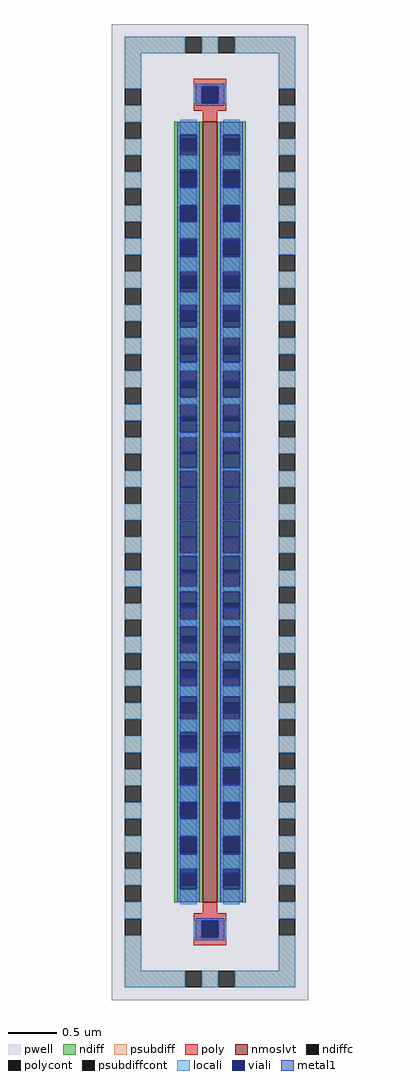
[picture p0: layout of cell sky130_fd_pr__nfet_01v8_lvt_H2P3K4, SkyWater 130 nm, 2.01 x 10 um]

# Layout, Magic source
magic
tech sky130A
magscale 1 2
<< pwell >>
rect -201 -1000 201 1000
<< nmoslvt >>
rect -15 -800 15 800
<< ndiff >>
rect -73 765 -15 800
rect -73 731 -61 765
rect -27 731 -15 765
rect -73 697 -15 731
rect -73 663 -61 697
rect -27 663 -15 697
rect -73 629 -15 663
rect -73 595 -61 629
rect -27 595 -15 629
rect -73 561 -15 595
rect -73 527 -61 561
rect -27 527 -15 561
rect -73 493 -15 527
rect -73 459 -61 493
rect -27 459 -15 493
rect -73 425 -15 459
rect -73 391 -61 425
rect -27 391 -15 425
rect -73 357 -15 391
rect -73 323 -61 357
rect -27 323 -15 357
rect -73 289 -15 323
rect -73 255 -61 289
rect -27 255 -15 289
rect -73 221 -15 255
rect -73 187 -61 221
rect -27 187 -15 221
rect -73 153 -15 187
rect -73 119 -61 153
rect -27 119 -15 153
rect -73 85 -15 119
rect -73 51 -61 85
rect -27 51 -15 85
rect -73 17 -15 51
rect -73 -17 -61 17
rect -27 -17 -15 17
rect -73 -51 -15 -17
rect -73 -85 -61 -51
rect -27 -85 -15 -51
rect -73 -119 -15 -85
rect -73 -153 -61 -119
rect -27 -153 -15 -119
rect -73 -187 -15 -153
rect -73 -221 -61 -187
rect -27 -221 -15 -187
rect -73 -255 -15 -221
rect -73 -289 -61 -255
rect -27 -289 -15 -255
rect -73 -323 -15 -289
rect -73 -357 -61 -323
rect -27 -357 -15 -323
rect -73 -391 -15 -357
rect -73 -425 -61 -391
rect -27 -425 -15 -391
rect -73 -459 -15 -425
rect -73 -493 -61 -459
rect -27 -493 -15 -459
rect -73 -527 -15 -493
rect -73 -561 -61 -527
rect -27 -561 -15 -527
rect -73 -595 -15 -561
rect -73 -629 -61 -595
rect -27 -629 -15 -595
rect -73 -663 -15 -629
rect -73 -697 -61 -663
rect -27 -697 -15 -663
rect -73 -731 -15 -697
rect -73 -765 -61 -731
rect -27 -765 -15 -731
rect -73 -800 -15 -765
rect 15 765 73 800
rect 15 731 27 765
rect 61 731 73 765
rect 15 697 73 731
rect 15 663 27 697
rect 61 663 73 697
rect 15 629 73 663
rect 15 595 27 629
rect 61 595 73 629
rect 15 561 73 595
rect 15 527 27 561
rect 61 527 73 561
rect 15 493 73 527
rect 15 459 27 493
rect 61 459 73 493
rect 15 425 73 459
rect 15 391 27 425
rect 61 391 73 425
rect 15 357 73 391
rect 15 323 27 357
rect 61 323 73 357
rect 15 289 73 323
rect 15 255 27 289
rect 61 255 73 289
rect 15 221 73 255
rect 15 187 27 221
rect 61 187 73 221
rect 15 153 73 187
rect 15 119 27 153
rect 61 119 73 153
rect 15 85 73 119
rect 15 51 27 85
rect 61 51 73 85
rect 15 17 73 51
rect 15 -17 27 17
rect 61 -17 73 17
rect 15 -51 73 -17
rect 15 -85 27 -51
rect 61 -85 73 -51
rect 15 -119 73 -85
rect 15 -153 27 -119
rect 61 -153 73 -119
rect 15 -187 73 -153
rect 15 -221 27 -187
rect 61 -221 73 -187
rect 15 -255 73 -221
rect 15 -289 27 -255
rect 61 -289 73 -255
rect 15 -323 73 -289
rect 15 -357 27 -323
rect 61 -357 73 -323
rect 15 -391 73 -357
rect 15 -425 27 -391
rect 61 -425 73 -391
rect 15 -459 73 -425
rect 15 -493 27 -459
rect 61 -493 73 -459
rect 15 -527 73 -493
rect 15 -561 27 -527
rect 61 -561 73 -527
rect 15 -595 73 -561
rect 15 -629 27 -595
rect 61 -629 73 -595
rect 15 -663 73 -629
rect 15 -697 27 -663
rect 61 -697 73 -663
rect 15 -731 73 -697
rect 15 -765 27 -731
rect 61 -765 73 -731
rect 15 -800 73 -765
<< ndiffc >>
rect -61 731 -27 765
rect -61 663 -27 697
rect -61 595 -27 629
rect -61 527 -27 561
rect -61 459 -27 493
rect -61 391 -27 425
rect -61 323 -27 357
rect -61 255 -27 289
rect -61 187 -27 221
rect -61 119 -27 153
rect -61 51 -27 85
rect -61 -17 -27 17
rect -61 -85 -27 -51
rect -61 -153 -27 -119
rect -61 -221 -27 -187
rect -61 -289 -27 -255
rect -61 -357 -27 -323
rect -61 -425 -27 -391
rect -61 -493 -27 -459
rect -61 -561 -27 -527
rect -61 -629 -27 -595
rect -61 -697 -27 -663
rect -61 -765 -27 -731
rect 27 731 61 765
rect 27 663 61 697
rect 27 595 61 629
rect 27 527 61 561
rect 27 459 61 493
rect 27 391 61 425
rect 27 323 61 357
rect 27 255 61 289
rect 27 187 61 221
rect 27 119 61 153
rect 27 51 61 85
rect 27 -17 61 17
rect 27 -85 61 -51
rect 27 -153 61 -119
rect 27 -221 61 -187
rect 27 -289 61 -255
rect 27 -357 61 -323
rect 27 -425 61 -391
rect 27 -493 61 -459
rect 27 -561 61 -527
rect 27 -629 61 -595
rect 27 -697 61 -663
rect 27 -765 61 -731
<< psubdiff >>
rect -175 940 -51 974
rect -17 940 17 974
rect 51 940 175 974
rect -175 867 -141 940
rect -175 799 -141 833
rect 141 867 175 940
rect -175 731 -141 765
rect -175 663 -141 697
rect -175 595 -141 629
rect -175 527 -141 561
rect -175 459 -141 493
rect -175 391 -141 425
rect -175 323 -141 357
rect -175 255 -141 289
rect -175 187 -141 221
rect -175 119 -141 153
rect -175 51 -141 85
rect -175 -17 -141 17
rect -175 -85 -141 -51
rect -175 -153 -141 -119
rect -175 -221 -141 -187
rect -175 -289 -141 -255
rect -175 -357 -141 -323
rect -175 -425 -141 -391
rect -175 -493 -141 -459
rect -175 -561 -141 -527
rect -175 -629 -141 -595
rect -175 -697 -141 -663
rect -175 -765 -141 -731
rect -175 -833 -141 -799
rect 141 799 175 833
rect 141 731 175 765
rect 141 663 175 697
rect 141 595 175 629
rect 141 527 175 561
rect 141 459 175 493
rect 141 391 175 425
rect 141 323 175 357
rect 141 255 175 289
rect 141 187 175 221
rect 141 119 175 153
rect 141 51 175 85
rect 141 -17 175 17
rect 141 -85 175 -51
rect 141 -153 175 -119
rect 141 -221 175 -187
rect 141 -289 175 -255
rect 141 -357 175 -323
rect 141 -425 175 -391
rect 141 -493 175 -459
rect 141 -561 175 -527
rect 141 -629 175 -595
rect 141 -697 175 -663
rect 141 -765 175 -731
rect -175 -940 -141 -867
rect 141 -833 175 -799
rect 141 -940 175 -867
rect -175 -974 -51 -940
rect -17 -974 17 -940
rect 51 -974 175 -940
<< psubdiffcont >>
rect -51 940 -17 974
rect 17 940 51 974
rect -175 833 -141 867
rect 141 833 175 867
rect -175 765 -141 799
rect -175 697 -141 731
rect -175 629 -141 663
rect -175 561 -141 595
rect -175 493 -141 527
rect -175 425 -141 459
rect -175 357 -141 391
rect -175 289 -141 323
rect -175 221 -141 255
rect -175 153 -141 187
rect -175 85 -141 119
rect -175 17 -141 51
rect -175 -51 -141 -17
rect -175 -119 -141 -85
rect -175 -187 -141 -153
rect -175 -255 -141 -221
rect -175 -323 -141 -289
rect -175 -391 -141 -357
rect -175 -459 -141 -425
rect -175 -527 -141 -493
rect -175 -595 -141 -561
rect -175 -663 -141 -629
rect -175 -731 -141 -697
rect -175 -799 -141 -765
rect 141 765 175 799
rect 141 697 175 731
rect 141 629 175 663
rect 141 561 175 595
rect 141 493 175 527
rect 141 425 175 459
rect 141 357 175 391
rect 141 289 175 323
rect 141 221 175 255
rect 141 153 175 187
rect 141 85 175 119
rect 141 17 175 51
rect 141 -51 175 -17
rect 141 -119 175 -85
rect 141 -187 175 -153
rect 141 -255 175 -221
rect 141 -323 175 -289
rect 141 -391 175 -357
rect 141 -459 175 -425
rect 141 -527 175 -493
rect 141 -595 175 -561
rect 141 -663 175 -629
rect 141 -731 175 -697
rect 141 -799 175 -765
rect -175 -867 -141 -833
rect 141 -867 175 -833
rect -51 -974 -17 -940
rect 17 -974 51 -940
<< poly >>
rect -33 872 33 888
rect -33 838 -17 872
rect 17 838 33 872
rect -33 822 33 838
rect -15 800 15 822
rect -15 -822 15 -800
rect -33 -838 33 -822
rect -33 -872 -17 -838
rect 17 -872 33 -838
rect -33 -888 33 -872
<< polycont >>
rect -17 838 17 872
rect -17 -872 17 -838
<< locali >>
rect -175 940 -51 974
rect -17 940 17 974
rect 51 940 175 974
rect -175 867 -141 940
rect -33 838 -17 872
rect 17 838 33 872
rect 141 867 175 940
rect -175 799 -141 833
rect -175 731 -141 765
rect -175 663 -141 697
rect -175 595 -141 629
rect -175 527 -141 561
rect -175 459 -141 493
rect -175 391 -141 425
rect -175 323 -141 357
rect -175 255 -141 289
rect -175 187 -141 221
rect -175 119 -141 153
rect -175 51 -141 85
rect -175 -17 -141 17
rect -175 -85 -141 -51
rect -175 -153 -141 -119
rect -175 -221 -141 -187
rect -175 -289 -141 -255
rect -175 -357 -141 -323
rect -175 -425 -141 -391
rect -175 -493 -141 -459
rect -175 -561 -141 -527
rect -175 -629 -141 -595
rect -175 -697 -141 -663
rect -175 -765 -141 -731
rect -175 -833 -141 -799
rect -61 773 -27 804
rect -61 701 -27 731
rect -61 629 -27 663
rect -61 561 -27 595
rect -61 493 -27 523
rect -61 425 -27 451
rect -61 357 -27 379
rect -61 289 -27 307
rect -61 221 -27 235
rect -61 153 -27 163
rect -61 85 -27 91
rect -61 17 -27 19
rect -61 -19 -27 -17
rect -61 -91 -27 -85
rect -61 -163 -27 -153
rect -61 -235 -27 -221
rect -61 -307 -27 -289
rect -61 -379 -27 -357
rect -61 -451 -27 -425
rect -61 -523 -27 -493
rect -61 -595 -27 -561
rect -61 -663 -27 -629
rect -61 -731 -27 -701
rect -61 -804 -27 -773
rect 27 773 61 804
rect 27 701 61 731
rect 27 629 61 663
rect 27 561 61 595
rect 27 493 61 523
rect 27 425 61 451
rect 27 357 61 379
rect 27 289 61 307
rect 27 221 61 235
rect 27 153 61 163
rect 27 85 61 91
rect 27 17 61 19
rect 27 -19 61 -17
rect 27 -91 61 -85
rect 27 -163 61 -153
rect 27 -235 61 -221
rect 27 -307 61 -289
rect 27 -379 61 -357
rect 27 -451 61 -425
rect 27 -523 61 -493
rect 27 -595 61 -561
rect 27 -663 61 -629
rect 27 -731 61 -701
rect 27 -804 61 -773
rect 141 799 175 833
rect 141 731 175 765
rect 141 663 175 697
rect 141 595 175 629
rect 141 527 175 561
rect 141 459 175 493
rect 141 391 175 425
rect 141 323 175 357
rect 141 255 175 289
rect 141 187 175 221
rect 141 119 175 153
rect 141 51 175 85
rect 141 -17 175 17
rect 141 -85 175 -51
rect 141 -153 175 -119
rect 141 -221 175 -187
rect 141 -289 175 -255
rect 141 -357 175 -323
rect 141 -425 175 -391
rect 141 -493 175 -459
rect 141 -561 175 -527
rect 141 -629 175 -595
rect 141 -697 175 -663
rect 141 -765 175 -731
rect 141 -833 175 -799
rect -175 -940 -141 -867
rect -33 -872 -17 -838
rect 17 -872 33 -838
rect 141 -940 175 -867
rect -175 -974 -51 -940
rect -17 -974 17 -940
rect 51 -974 175 -940
<< viali >>
rect -17 838 17 872
rect -61 765 -27 773
rect -61 739 -27 765
rect -61 697 -27 701
rect -61 667 -27 697
rect -61 595 -27 629
rect -61 527 -27 557
rect -61 523 -27 527
rect -61 459 -27 485
rect -61 451 -27 459
rect -61 391 -27 413
rect -61 379 -27 391
rect -61 323 -27 341
rect -61 307 -27 323
rect -61 255 -27 269
rect -61 235 -27 255
rect -61 187 -27 197
rect -61 163 -27 187
rect -61 119 -27 125
rect -61 91 -27 119
rect -61 51 -27 53
rect -61 19 -27 51
rect -61 -51 -27 -19
rect -61 -53 -27 -51
rect -61 -119 -27 -91
rect -61 -125 -27 -119
rect -61 -187 -27 -163
rect -61 -197 -27 -187
rect -61 -255 -27 -235
rect -61 -269 -27 -255
rect -61 -323 -27 -307
rect -61 -341 -27 -323
rect -61 -391 -27 -379
rect -61 -413 -27 -391
rect -61 -459 -27 -451
rect -61 -485 -27 -459
rect -61 -527 -27 -523
rect -61 -557 -27 -527
rect -61 -629 -27 -595
rect -61 -697 -27 -667
rect -61 -701 -27 -697
rect -61 -765 -27 -739
rect -61 -773 -27 -765
rect 27 765 61 773
rect 27 739 61 765
rect 27 697 61 701
rect 27 667 61 697
rect 27 595 61 629
rect 27 527 61 557
rect 27 523 61 527
rect 27 459 61 485
rect 27 451 61 459
rect 27 391 61 413
rect 27 379 61 391
rect 27 323 61 341
rect 27 307 61 323
rect 27 255 61 269
rect 27 235 61 255
rect 27 187 61 197
rect 27 163 61 187
rect 27 119 61 125
rect 27 91 61 119
rect 27 51 61 53
rect 27 19 61 51
rect 27 -51 61 -19
rect 27 -53 61 -51
rect 27 -119 61 -91
rect 27 -125 61 -119
rect 27 -187 61 -163
rect 27 -197 61 -187
rect 27 -255 61 -235
rect 27 -269 61 -255
rect 27 -323 61 -307
rect 27 -341 61 -323
rect 27 -391 61 -379
rect 27 -413 61 -391
rect 27 -459 61 -451
rect 27 -485 61 -459
rect 27 -527 61 -523
rect 27 -557 61 -527
rect 27 -629 61 -595
rect 27 -697 61 -667
rect 27 -701 61 -697
rect 27 -765 61 -739
rect 27 -773 61 -765
rect -17 -872 17 -838
<< metal1 >>
rect -29 872 29 878
rect -29 838 -17 872
rect 17 838 29 872
rect -29 832 29 838
rect -67 773 -21 800
rect -67 739 -61 773
rect -27 739 -21 773
rect -67 701 -21 739
rect -67 667 -61 701
rect -27 667 -21 701
rect -67 629 -21 667
rect -67 595 -61 629
rect -27 595 -21 629
rect -67 557 -21 595
rect -67 523 -61 557
rect -27 523 -21 557
rect -67 485 -21 523
rect -67 451 -61 485
rect -27 451 -21 485
rect -67 413 -21 451
rect -67 379 -61 413
rect -27 379 -21 413
rect -67 341 -21 379
rect -67 307 -61 341
rect -27 307 -21 341
rect -67 269 -21 307
rect -67 235 -61 269
rect -27 235 -21 269
rect -67 197 -21 235
rect -67 163 -61 197
rect -27 163 -21 197
rect -67 125 -21 163
rect -67 91 -61 125
rect -27 91 -21 125
rect -67 53 -21 91
rect -67 19 -61 53
rect -27 19 -21 53
rect -67 -19 -21 19
rect -67 -53 -61 -19
rect -27 -53 -21 -19
rect -67 -91 -21 -53
rect -67 -125 -61 -91
rect -27 -125 -21 -91
rect -67 -163 -21 -125
rect -67 -197 -61 -163
rect -27 -197 -21 -163
rect -67 -235 -21 -197
rect -67 -269 -61 -235
rect -27 -269 -21 -235
rect -67 -307 -21 -269
rect -67 -341 -61 -307
rect -27 -341 -21 -307
rect -67 -379 -21 -341
rect -67 -413 -61 -379
rect -27 -413 -21 -379
rect -67 -451 -21 -413
rect -67 -485 -61 -451
rect -27 -485 -21 -451
rect -67 -523 -21 -485
rect -67 -557 -61 -523
rect -27 -557 -21 -523
rect -67 -595 -21 -557
rect -67 -629 -61 -595
rect -27 -629 -21 -595
rect -67 -667 -21 -629
rect -67 -701 -61 -667
rect -27 -701 -21 -667
rect -67 -739 -21 -701
rect -67 -773 -61 -739
rect -27 -773 -21 -739
rect -67 -800 -21 -773
rect 21 773 67 800
rect 21 739 27 773
rect 61 739 67 773
rect 21 701 67 739
rect 21 667 27 701
rect 61 667 67 701
rect 21 629 67 667
rect 21 595 27 629
rect 61 595 67 629
rect 21 557 67 595
rect 21 523 27 557
rect 61 523 67 557
rect 21 485 67 523
rect 21 451 27 485
rect 61 451 67 485
rect 21 413 67 451
rect 21 379 27 413
rect 61 379 67 413
rect 21 341 67 379
rect 21 307 27 341
rect 61 307 67 341
rect 21 269 67 307
rect 21 235 27 269
rect 61 235 67 269
rect 21 197 67 235
rect 21 163 27 197
rect 61 163 67 197
rect 21 125 67 163
rect 21 91 27 125
rect 61 91 67 125
rect 21 53 67 91
rect 21 19 27 53
rect 61 19 67 53
rect 21 -19 67 19
rect 21 -53 27 -19
rect 61 -53 67 -19
rect 21 -91 67 -53
rect 21 -125 27 -91
rect 61 -125 67 -91
rect 21 -163 67 -125
rect 21 -197 27 -163
rect 61 -197 67 -163
rect 21 -235 67 -197
rect 21 -269 27 -235
rect 61 -269 67 -235
rect 21 -307 67 -269
rect 21 -341 27 -307
rect 61 -341 67 -307
rect 21 -379 67 -341
rect 21 -413 27 -379
rect 61 -413 67 -379
rect 21 -451 67 -413
rect 21 -485 27 -451
rect 61 -485 67 -451
rect 21 -523 67 -485
rect 21 -557 27 -523
rect 61 -557 67 -523
rect 21 -595 67 -557
rect 21 -629 27 -595
rect 61 -629 67 -595
rect 21 -667 67 -629
rect 21 -701 27 -667
rect 61 -701 67 -667
rect 21 -739 67 -701
rect 21 -773 27 -739
rect 61 -773 67 -739
rect 21 -800 67 -773
rect -29 -838 29 -832
rect -29 -872 -17 -838
rect 17 -872 29 -838
rect -29 -878 29 -872
<< properties >>
string FIXED_BBOX -158 -957 158 957
<< end >>
